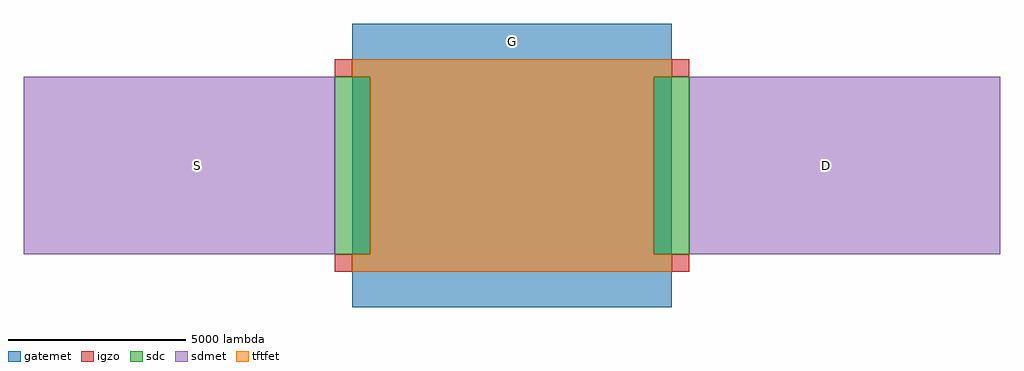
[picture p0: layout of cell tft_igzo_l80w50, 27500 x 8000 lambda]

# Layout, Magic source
magic
tech igzo_mmm_lab
<< igzo >>
rect -5000 2500 -4500 3000
rect 4500 2500 5000 3000
rect -5000 -3000 -4500 -2500
rect 4500 -3000 5000 -2500
<< tftfet >>
rect -4500 2500 4500 3000
rect -4000 -2500 4000 2500
rect -4500 -3000 4500 -2500
<< sdc >>
rect -5000 -2500 -4000 2500
rect 4000 -2500 5000 2500
<< sdmet >>
rect -13750 -2500 -5000 2500
rect 5000 -2500 13750 2500
<< gatemet >>
rect -4500 -4000 4500 4000
<< labels >>
rlabel sdmet s -9125 -250 -8625 250 4 S
port 3 nsew
rlabel sdmet s 8625 -250 9125 250 4 D
port 5 nsew
rlabel gatemet s -250 3250 250 3750 4 G
port 7 nsew
<< end >>
